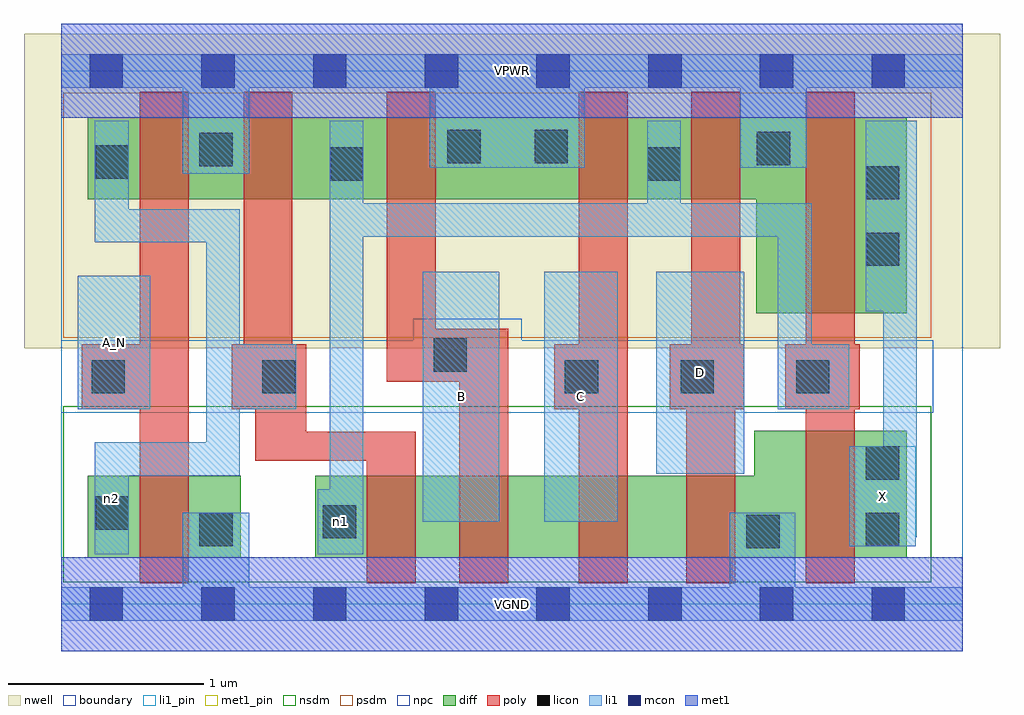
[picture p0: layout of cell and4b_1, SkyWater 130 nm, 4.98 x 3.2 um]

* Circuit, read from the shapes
.subckt and4b_1 A_N B C D VGND VPWR X n1 n2
XM1 VGND A_N n2 VSUBS sky130_fd_pr__nfet_01v8 w=0.42 l=0.25
XM2 n3 n2 n1 VSUBS sky130_fd_pr__nfet_01v8 w=0.42 l=0.25
XM3 n4 B n3 VSUBS sky130_fd_pr__nfet_01v8 w=0.42 l=0.25
XM4 n5 C n4 VSUBS sky130_fd_pr__nfet_01v8 w=0.42 l=0.25
XM5 VGND D n5 VSUBS sky130_fd_pr__nfet_01v8 w=0.42 l=0.25
XM6 X n1 VGND VSUBS sky130_fd_pr__nfet_01v8 w=0.65 l=0.25
XM7 VPWR A_N n2 n6 sky130_fd_pr__pfet_01v8 w=0.42 l=0.25
XM8 n1 n2 VPWR n6 sky130_fd_pr__pfet_01v8 w=0.42 l=0.25
XM9 VPWR B n1 n6 sky130_fd_pr__pfet_01v8 w=0.42 l=0.25
XM10 n1 C VPWR n6 sky130_fd_pr__pfet_01v8 w=0.42 l=0.25
XM11 VPWR D n1 n6 sky130_fd_pr__pfet_01v8 w=0.42 l=0.25
XM12 X n1 VPWR n6 sky130_fd_pr__pfet_01v8 w=1 l=0.25
.ends

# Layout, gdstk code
import gdstk
lib = gdstk.Library(unit=1e-6, precision=1e-09)
def R(c, l, rs):  # rectangles x0, y0, x1, y1
    for r in rs: c.add(gdstk.rectangle(r[:2], r[2:], *l))
def A(c, l, x, y, w, h, nx, ny, dx, dy):  # array of equal rectangles
    R(c, l, [(x+i*dx, y+j*dy, x+i*dx+w, y+j*dy+h) for i in range(nx) for j in range(ny)])
nwell = (64, 20)
diff = (65, 20)
poly = (66, 20)
licon = (66, 44)
li1_pin = (67, 16)
li1 = (67, 20)
mcon = (67, 44)
met1_pin = (68, 16)
met1 = (68, 20)
nsdm = (93, 44)
psdm = (94, 20)
npc = (95, 20)
boundary = (235, 4)

and4b_1 = lib.new_cell('and4b_1')
R(and4b_1, nwell, [(-0.19,1.305,4.79,2.91), (0,1.305,4.6,2.91)])
R(and4b_1, diff, [(0.135,0.235,0.915,0.655), (1.295,0.235,4.315,0.655), (3.535,0.235,4.315,0.885), (3.545,1.485,4.315,2.485), (0.135,2.065,4.315,2.485)])
R(and4b_1, poly, [(0.4,0.105,0.65,2.615), (1.56,0.105,1.81,0.88), (2.03,0.105,2.28,1.405), (2.64,0.105,2.89,2.615), (3.19,0.105,3.44,1.325), (3.8,0.105,4.05,2.615), (0.99,0.73,1.81,0.88), (0.99,0.73,1.25,1.325), (0.105,0.995,0.65,1.325), (0.87,0.995,1.25,1.325), (0.93,0.995,1.18,2.615), (2.515,0.995,2.89,1.325), (3.105,0.995,3.485,1.325), (3.215,0.995,3.465,2.615), (3.695,0.995,4.075,1.325), (1.66,1.135,1.91,2.615), (1.66,1.135,2.28,1.405)])
A(and4b_1, licon, 2.57, 1.075, 0.17, 0.17, 3, 1, 0.59, 0)
R(and4b_1, licon, [(3.495,0.285,3.665,0.455), (0.705,0.295,0.875,0.465), (4.105,0.295,4.275,0.465), (1.335,0.335,1.505,0.505), (0.175,0.38,0.345,0.55), (4.105,0.635,4.275,0.805), (0.155,1.075,0.325,1.245), (1.025,1.075,1.195,1.245), (1.9,1.185,2.07,1.355), (4.105,1.725,4.275,1.895), (4.105,2.065,4.275,2.235), (1.37,2.16,1.54,2.33), (2.99,2.16,3.16,2.33), (0.175,2.17,0.345,2.34), (0.705,2.235,0.875,2.405), (3.55,2.24,3.72,2.41), (1.97,2.25,2.14,2.42), (2.415,2.25,2.585,2.42)])
R(and4b_1, li1_pin, [(4.02,0.295,4.36,0.805), (1.845,0.42,2.235,1.695), (2.465,0.42,2.84,1.695), (3.035,0.665,3.485,1.695), (0.085,0.995,0.455,1.675)])
R(and4b_1, li1, [(0,-0.085,4.6,0.085), (0.62,-0.085,0.96,0.465), (3.41,-0.085,3.745,0.465), (0.17,0.255,0.345,0.825), (1.31,0.255,1.54,0.585), (1.37,0.255,1.54,2.465), (4.02,0.295,4.36,0.805), (4.195,0.34,4.365,2.465), (1.845,0.42,2.235,1.695), (2.465,0.42,2.84,1.695), (0.17,0.655,0.91,0.825), (0.74,0.655,0.91,2.015), (3.035,0.665,3.485,1.695), (0.085,0.995,0.455,1.675), (0.74,0.995,1.2,1.325), (3.655,0.995,3.83,2.045), (3.655,0.995,4.02,1.325), (4.105,1.495,4.365,2.465), (0.17,1.845,0.91,2.015), (0.17,1.845,0.345,2.465), (1.37,1.875,3.83,2.045), (2.99,1.875,3.16,2.465), (0.62,2.195,0.96,2.805), (1.88,2.225,2.67,2.805), (3.465,2.225,3.805,2.805), (0,2.635,4.6,2.805)])
A(and4b_1, mcon, 0.145, -0.085, 0.17, 0.17, 8, 2, 0.57, 2.72)
R(and4b_1, met1_pin, [(0,-0.24,4.6,0.24), (0,2.48,4.6,2.96)])
R(and4b_1, met1, [(0,-0.24,4.6,0.24), (0,2.48,4.6,2.96)])
R(and4b_1, nsdm, [(0.01,0.11,4.44,1.01)])
R(and4b_1, psdm, [(0.01,1.36,4.44,2.61)])
R(and4b_1, npc, [(0,0.975,4.45,1.345), (1.795,0.975,2.35,1.455)])
R(and4b_1, boundary, [(0,0,4.6,2.72)])
and4b_1.add(gdstk.Label('A_N', (0.27,1.335), layer=67, texttype=5))
and4b_1.add(gdstk.Label('B', (2.04,1.057), layer=67, texttype=5))
and4b_1.add(gdstk.Label('C', (2.652,1.057), layer=67, texttype=5))
and4b_1.add(gdstk.Label('D', (3.26,1.18), layer=67, texttype=5))
and4b_1.add(gdstk.Label('X', (4.19,0.55), layer=67, texttype=5))
and4b_1.add(gdstk.Label('n2', (0.257,0.54), layer=67, texttype=5))
and4b_1.add(gdstk.Label('n1', (1.425,0.42), layer=67, texttype=5))
and4b_1.add(gdstk.Label('VPWR', (2.3,2.72), layer=68, texttype=5))
and4b_1.add(gdstk.Label('VGND', (2.3,0), layer=68, texttype=5))
and4b_1.add(gdstk.Label('A_N', (0.27,1.335), layer=67, texttype=16))
and4b_1.add(gdstk.Label('B', (2.04,1.057), layer=67, texttype=16))
and4b_1.add(gdstk.Label('C', (2.652,1.057), layer=67, texttype=16))
and4b_1.add(gdstk.Label('D', (3.26,1.18), layer=67, texttype=16))
and4b_1.add(gdstk.Label('X', (4.19,0.55), layer=67, texttype=16))
and4b_1.add(gdstk.Label('VPWR', (2.3,2.72), layer=68, texttype=16))
and4b_1.add(gdstk.Label('VGND', (2.3,0), layer=68, texttype=16))

lib.write_gds('and4b_1.gds')
